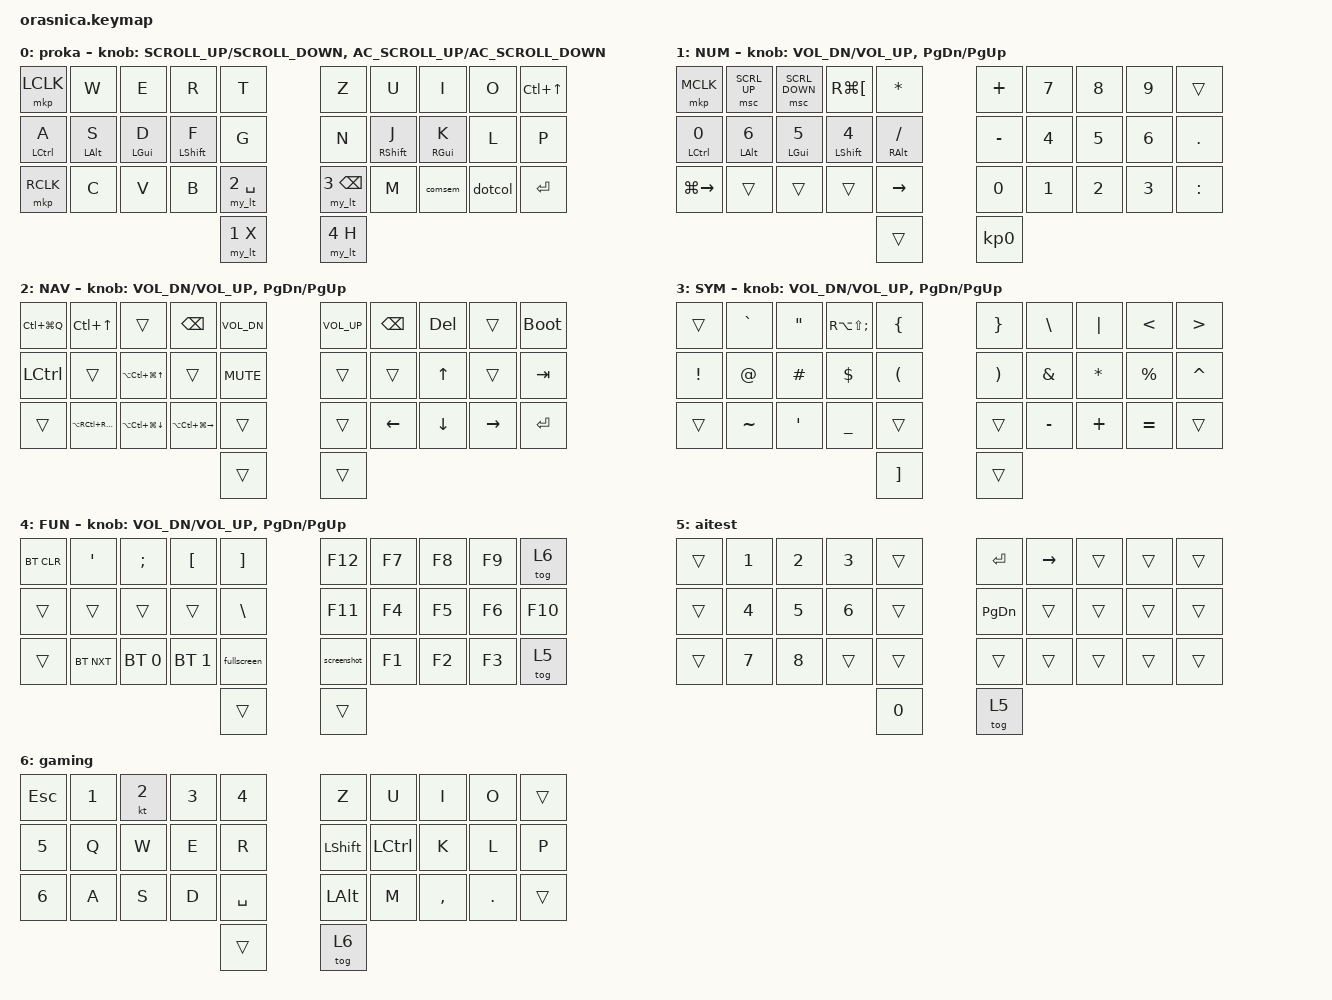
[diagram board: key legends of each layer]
#include <behaviors.dtsi>
#include <dt-bindings/zmk/bt.h>
#include <dt-bindings/zmk/keys.h>
#include <dt-bindings/zmk/keys.h>
#include <dt-bindings/zmk/pointing.h>
#include <dt-bindings/zmk/pointing.h>

#define ZMK_POINTING_DEFAULT_MOVE_VAL 1500  // default: 600
#define ZMK_POINTING_DEFAULT_SCRL_VAL 50   // default: 40
#define DEF 0
#define NUM 1
#define NAV 2
#define SYM 3
#define FUN 4

&caps_word { continue-list = <UNDERSCORE MINUS BSPC LSHFT RSHFT>; };

/ {
    macros {
        fullscreen: fullscreen {
            compatible = "zmk,behavior-macro";
            #binding-cells = <0>;
            bindings = <&kp LC(LA(LG(M)))>;
            label = "FULLSCREEN";
        };

        screenshot: screenshot {
            compatible = "zmk,behavior-macro";
            #binding-cells = <0>;
            bindings = <&kp LS(LG(NUMBER_4))>;
            label = "SCREENSHOT";
        };
    };
};

/ { global-tapping-term-ms = <200>; };

#define COMBO(NAME, BINDINGS, KEYPOS) \
combo_##NAME { \
    timeout-ms = <20>; \
    bindings = <BINDINGS>; \
    key-positions = <KEYPOS>; \
};

/ {
    combos {
        compatible = "zmk,combos";

        /* usually on base layer */

        COMBO(q, &kp Q, 1 2) 
        COMBO(, &kp Q, 1 2)
        COMBO(z, &kp Y, 5 6)
        COMBO(slash, &kp SLASH, 27 28)
        COMBO(dash, &kp MINUS, 26 27)
        COMBO(enter, &kp ENTER, 26 28)
        COMBO(esc, &kp ESC, 22 23)

        /* deletion */

        COMBO(bspc, &kp BSPC, 6 7)
        COMBO(del, &kp DEL, 7 8)
        COMBO(delword, &kp LC(BSPC), 6 8)
    };
};

/ {
    behaviors {
        hl: homerow_mods_left {
            compatible = "zmk,behavior-hold-tap";
            label = "homerow mods left";
            #binding-cells = <2>;

            // flavor = "tap-preferred";

            flavor = "balanced";
            tapping-term-ms = <200>;
            quick-tap-ms = <150>;

            // global-quick-tap;

            bindings = <&kp>, <&kp>;

            // opposite side hand keys

            hold-trigger-key-positions = <5 6 7 8 9 15 16 17 18 19 25 26 27 28 29 30 31>;
        };

        hr: homerow_mods_right {
            compatible = "zmk,behavior-hold-tap";
            label = "homerow mods right";
            #binding-cells = <2>;

            // flavor = "tap-preferred";

            flavor = "balanced";
            tapping-term-ms = <200>;
            quick-tap-ms = <150>;

            // global-quick-tap;

            bindings = <&kp>, <&kp>;

            // opposite side hand keys

            hold-trigger-key-positions = <0 1 2 3 4 10 11 12 13 14 20 21 22 23 24 30 31>;
        };

        my_lt: my_layer_taps {
            compatible = "zmk,behavior-hold-tap";
            label = "my layer taps";
            #binding-cells = <2>;

            // flavor = "tap-preferred";

            flavor = "balanced";
            tapping-term-ms = <200>;
            quick-tap-ms = <150>;

            // global-quick-tap;

            bindings = <&mo &kp>, <&kp>;

            // non-thumb keys
            // hold-trigger-key-positions = <0 1 2 3 4 5 6 7 8 9 10 11 12 13 14 15 16 17 18 19 20 21 22 23 24 25>;
        };

        //   ____________________________  ____________________________
        //  / 0  |  1  |  2  |  3  |  4  \/   5 |   6 |   7 |   8 | 9  \
        // | 10  | 11  | 12  | 13  | 14  /\  15 |  16 |  17 |  18 | 19  |
        // | 10  | 21  | 22  | 23  | 14 /  \ 15 |  26 |  27 |  28 | 29  |
        //            \  30  /    	        \  30  /
        //                       ------      ------

        dotcol: dot_colon {
            compatible = "zmk,behavior-mod-morph";
            label = "DOT_COL";
            #binding-cells = <0>;
            bindings = <&kp DOT>, <&kp COLON>;

            mods = <(MOD_LSFT|MOD_RSFT)>;
        };

        comsem: comma_semicolon {
            compatible = "zmk,behavior-mod-morph";
            label = "COM_SEM";
            #binding-cells = <0>;
            bindings = <&kp COMMA>, <&kp SEMI>;

            mods = <(MOD_LSFT|MOD_RSFT)>;
        };
    };
};

&encoder { status = "okay"; };

&encoder2 { status = "okay"; };

/ {
    keymap {
        compatible = "zmk,keymap";

        macos {
            label = "proka";
            bindings = <
&mkp LCLK    &kp W       &kp E       &kp R        &kp T           &kp Z               &kp U        &kp I       &kp O    &kp LC(UP_ARROW)
&hl LCTRL A  &hl LALT S  &hl LGUI D  &hl LSHFT F  &kp G           &kp N               &hr RSHFT J  &hr RGUI K  &kp L    &kp P
&mkp RCLK    &kp C       &kp V       &kp B        &my_lt 2 SPACE  &my_lt 3 BACKSPACE  &kp M        &comsem     &dotcol  &kp ENTER
                         &my_lt 1 X                                                                &my_lt 4 H
            >;

            sensor-bindings =
                <&inc_dec_kp K_SCROLL_UP K_SCROLL_DOWN>,
                <&inc_dec_kp C_AC_SCROLL_UP C_AC_SCROLL_DOWN>;
        };

        Numbers-Mouse {
            label = "NUM";
            bindings = <
&mkp MCLK      &msc SCRL_UP  &msc SCRL_DOWN  &kp RG(LEFT_BRACKET)  &kp ASTERISK     &kp PLUS      &kp N7  &kp N8           &kp N9  &trans
&hl LCTRL N0   &hl LALT N6   &hl LGUI N5     &hl LSHFT N4          &hl RALT SLASH   &kp MINUS     &kp N4  &kp N5           &kp N6  &kp DOT
&kp LG(RIGHT)  &trans        &trans          &trans                &kp RIGHT_ARROW  &kp NUMBER_0  &kp N1  &kp N2           &kp N3  &kp COLON
                             &trans                                                                       &kp KP_NUMBER_0
            >;

            sensor-bindings = <
				&inc_dec_kp C_VOL_DN C_VOL_UP
				&inc_dec_kp PAGE_DOWN PAGE_UP
            >;
        };

        navigation {
            label = "NAV";
            bindings = <
&kp LC(LG(Q))  &kp LC(UP_ARROW)      &trans                    &kp BSPC               &kp C_VOL_DN  &kp C_VOL_UP  &kp BSPC  &kp DEL         &trans           &bootloader
&kp LCTRL      &trans                &kp LA(LC(LG(UP_ARROW)))  &trans                 &kp C_MUTE    &trans        &trans    &kp UP          &trans           &kp TAB
&trans         &kp LA(RC(RG(LEFT)))  &kp LA(LC(LG(DOWN)))      &kp LA(LC(LG(RIGHT)))  &trans        &trans        &kp LEFT  &kp DOWN_ARROW  &kp RIGHT_ARROW  &kp ENTER
                                     &trans                                                                                 &trans
            >;

            sensor-bindings = <
				&inc_dec_kp C_VOL_DN C_VOL_UP
				&inc_dec_kp PAGE_DOWN PAGE_UP
            >;
        };

        symbols {
            label = "SYM";
            bindings = <
&trans    &kp GRAVE  &kp DQT   &kp RA(LS(SEMI))  &kp LBRC  &kp RBRC  &kp BACKSLASH  &kp PIPE      &kp LT       &kp GREATER_THAN
&kp EXCL  &kp AT     &kp HASH  &kp DOLLAR        &kp LPAR  &kp RPAR  &kp AMPERSAND  &kp ASTERISK  &kp PERCENT  &kp CARET
&trans    &kp TILDE  &kp SQT   &kp UNDERSCORE    &trans    &trans    &kp MINUS      &kp PLUS      &kp EQUAL    &trans
                     &kp RBKT                                                       &trans
            >;

            sensor-bindings = <
				&inc_dec_kp C_VOL_DN C_VOL_UP
				&inc_dec_kp PAGE_DOWN PAGE_UP
            >;
        };

        function {
            label = "FUN";
            bindings = <
&bt BT_CLR  &kp SQT     &kp SEMICOLON  &kp LEFT_BRACKET  &kp RIGHT_BRACKET  &kp F12      &kp F7  &kp F8  &kp F9  &tog 6
&trans      &trans      &trans         &trans            &kp BACKSLASH      &kp F11      &kp F4  &kp F5  &kp F6  &kp F10
&trans      &bt BT_NXT  &bt BT_SEL 0   &bt BT_SEL 1      &fullscreen        &screenshot  &kp F1  &kp F2  &kp F3  &tog 5
                        &trans                                                                   &trans
            >;

            sensor-bindings = <
				&inc_dec_kp C_VOL_DN C_VOL_UP
				&inc_dec_kp PAGE_DOWN PAGE_UP
            >;
        };

        aitest {
            bindings = <
&trans  &kp NUMBER_1  &kp NUMBER_2  &kp NUMBER_3  &trans  &kp ENTER      &kp RIGHT_ARROW  &trans  &trans  &trans
&trans  &kp NUMBER_4  &kp NUMBER_5  &kp NUMBER_6  &trans  &kp PAGE_DOWN  &trans           &trans  &trans  &trans
&trans  &kp NUMBER_7  &kp NUMBER_8  &trans        &trans  &trans         &trans           &trans  &trans  &trans
                      &kp NUMBER_0                                                        &tog 5
            >;
        };

        gaming {
            bindings = <
&kp ESCAPE    &kp NUMBER_1  &kt NUMBER_2  &kp NUMBER_3  &kp NUMBER_4  &kp Z           &kp U             &kp I      &kp O       &trans
&kp N5        &kp Q         &kp W         &kp E         &kp R         &kp LEFT_SHIFT  &kp LEFT_CONTROL  &kp K      &kp L       &kp P
&kp NUMBER_6  &kp A         &kp S         &kp D         &kp SPACE     &kp LEFT_ALT    &kp M             &kp COMMA  &kp PERIOD  &trans
                            &trans                                                                      &tog 6
            >;

            label = "gaming";
        };
    };
};
